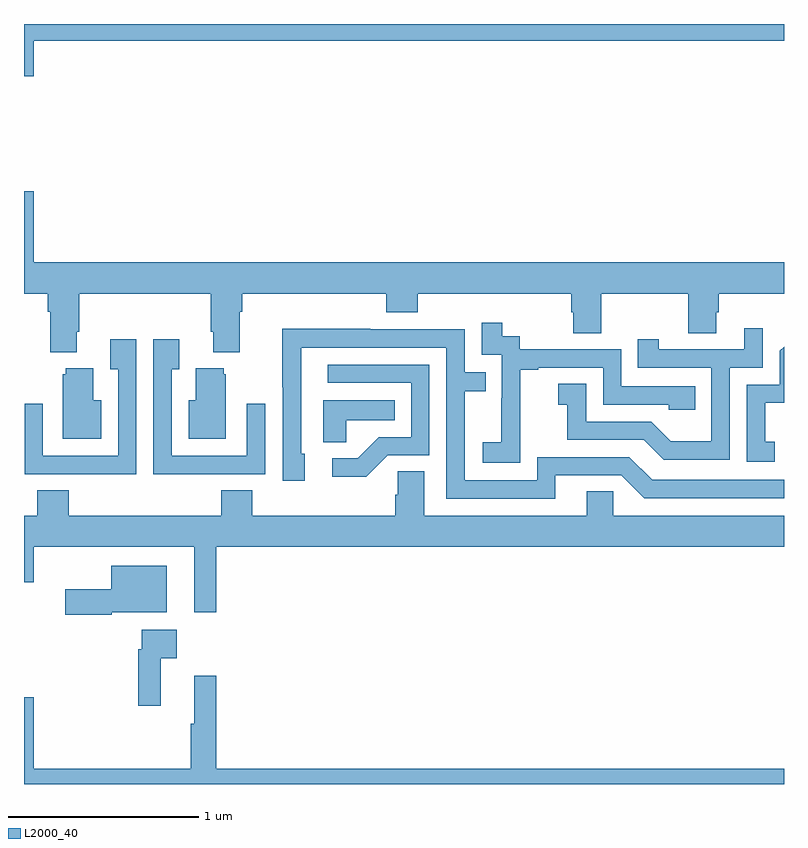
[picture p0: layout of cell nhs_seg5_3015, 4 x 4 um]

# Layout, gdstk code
import gdstk
lib = gdstk.Library(unit=1e-6, precision=1e-09)
def P(c, l, *ps):  # polygons
    for p in ps: c.add(gdstk.Polygon(p, *l))
L2000_40 = (2000, 40)

nhs_seg5_3015 = lib.new_cell('nhs_seg5_3015')
P(nhs_seg5_3015, L2000_40, [(285.052,904.712),(289,904.712),(289,904.799),(285,904.799),(285,904.524),(285.052,904.524)],
  [(285.277,903.178),(285.29,903.178),(285.29,903.38),(285.983,903.38),(285.983,903.178),(285.995,903.178),(285.995,903.071),(286.135,903.071),(286.135,903.284),(286.148,903.284),(286.148,903.38),(286.907,903.38),(286.907,903.281),(287.072,903.281),(287.072,903.38),(287.879,903.38),(287.879,903.282),(287.891,903.282),(287.891,903.172),(288.039,903.172),(288.039,903.38),(288.496,903.38),(288.496,903.172),(288.643,903.172),(288.643,903.282),(288.656,903.282),(288.656,903.38),(289,903.38),(289,903.544),(285.052,903.544),(285.052,903.919),(285,903.919),(285,903.38),(285.125,903.38),(285.125,903.284),(285.137,903.284),(285.137,903.071),(285.277,903.071)],
  [(287.613,902.695),(287.612,902.695),(287.612,902.979),(287.707,902.979),(287.707,902.991),(288.048,902.991),(288.048,902.796),(288.393,902.796),(288.393,902.769),(288.533,902.769),(288.533,902.892),(288.144,902.892),(288.144,903.087),(287.61,903.087),(287.61,903.156),(287.518,903.156),(287.518,903.226),(287.409,903.226),(287.409,903.057),(287.514,903.057),(287.514,902.828),(287.513,902.828),(287.513,902.599),(287.415,902.599),(287.415,902.489),(287.613,902.489)],
  [(288.714,902.991),(288.888,902.991),(288.888,903.199),(288.791,903.199),(288.791,903.087),(288.34,903.087),(288.34,903.139),(288.229,903.139),(288.229,902.991),(288.618,902.991),(288.618,902.602),(288.404,902.602),(288.3,902.706),(287.958,902.706),(287.958,902.905),(287.811,902.905),(287.811,902.795),(287.86,902.795),(287.86,902.61),(288.263,902.61),(288.368,902.505),(288.714,902.505)],
  [(287.797,902.424),(288.144,902.424),(288.264,902.304),(289,902.304),(289,902.4),(288.306,902.4),(288.186,902.52),(287.7,902.52),(287.7,902.397),(287.319,902.397),(287.319,902.866),(287.429,902.866),(287.429,902.967),(287.319,902.967),(287.319,903.192),(286.823,903.192),(286.823,903.194),(286.36,903.194),(286.36,902.887),(286.362,902.887),(286.362,902.394),(286.477,902.394),(286.477,902.538),(286.458,902.538),(286.458,903.096),(287.223,903.096),(287.223,902.301),(287.797,902.301)],
  [(285.953,902.43),(286.269,902.43),(286.269,902.8),(286.173,902.8),(286.173,902.526),(285.777,902.526),(285.777,902.983),(285.817,902.983),(285.817,903.139),(285.681,903.139),(285.681,902.429),(285.953,902.429)],
  [(285.591,903.139),(285.455,903.139),(285.455,902.983),(285.495,902.983),(285.495,902.526),(285.099,902.526),(285.099,902.8),(285.003,902.8),(285.003,902.43),(285.319,902.43),(285.319,902.429),(285.591,902.429)],
  [(288.95,902.601),(288.901,902.601),(288.901,902.805),(289,902.805),(289,903.1),(288.978,903.078),(288.978,902.901),(288.804,902.901),(288.804,902.496),(288.95,902.496)],
  [(286.914,902.529),(287.133,902.529),(287.133,903.006),(286.599,903.006),(286.599,902.91),(287.037,902.91),(287.037,902.625),(286.868,902.625),(286.757,902.514),(286.623,902.514),(286.623,902.417),(286.801,902.417)],
  [(285.406,902.818),(285.364,902.818),(285.364,902.986),(285.221,902.986),(285.221,902.955),(285.203,902.955),(285.203,902.615),(285.406,902.615)],
  [(286.063,902.955),(286.052,902.955),(286.052,902.986),(285.905,902.986),(285.905,902.818),(285.866,902.818),(285.866,902.615),(286.063,902.615)],
  [(286.695,902.714),(286.952,902.714),(286.952,902.818),(286.574,902.818),(286.574,902.599),(286.695,902.599)],
  [(286.013,902.048),(289,902.048),(289,902.212),(288.102,902.212),(288.102,902.339),(287.963,902.339),(287.963,902.212),(287.107,902.212),(287.107,902.444),(286.968,902.444),(286.968,902.321),(286.955,902.321),(286.955,902.212),(286.202,902.212),(286.202,902.345),(286.037,902.345),(286.037,902.212),(285.236,902.212),(285.236,902.345),(285.071,902.345),(285.071,902.212),(285,902.212),(285,901.86),(285.052,901.86),(285.052,902.048),(285.896,902.048),(285.896,901.704),(286.013,901.704)],
  [(285.462,901.703),(285.751,901.703),(285.751,901.948),(285.458,901.948),(285.458,901.825),(285.216,901.825),(285.216,901.691),(285.462,901.691)],
  [(285.719,901.46),(285.805,901.46),(285.805,901.612),(285.621,901.612),(285.621,901.508),(285.601,901.508),(285.601,901.212),(285.719,901.212)],
  [(289,900.88),(286.013,900.88),(286.013,901.369),(285.896,901.369),(285.896,901.116),(285.877,901.116),(285.877,900.88),(285.052,900.88),(285.052,901.255),(285,901.255),(285,900.799),(289,900.799)])

lib.write_gds('nhs_seg5_3015.gds')
